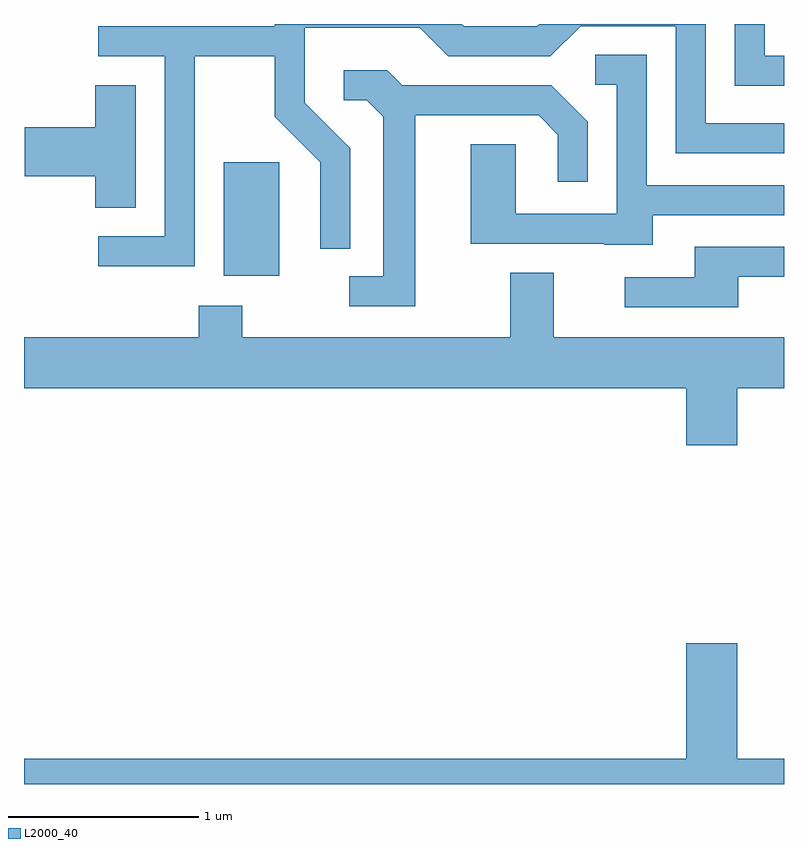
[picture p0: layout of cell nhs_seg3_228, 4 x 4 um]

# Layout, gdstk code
import gdstk
lib = gdstk.Library(unit=1e-6, precision=1e-09)
def R(c, l, rs):  # rectangles x0, y0, x1, y1
    for r in rs: c.add(gdstk.rectangle(r[:2], r[2:], *l))
def P(c, l, *ps):  # polygons
    for p in ps: c.add(gdstk.Polygon(p, *l))
L2000_40 = (2000, 40)

nhs_seg3_228 = lib.new_cell('nhs_seg3_228')
R(nhs_seg3_228, L2000_40, [(192.661,1166.566,192.954,1167.164)])
P(nhs_seg3_228, L2000_40, [(195.611,1167.724),(195.509,1167.724),(195.509,1167.892),(195.351,1167.892),(195.351,1167.566),(195.611,1167.566)],
  [(192.509,1167.721),(192.931,1167.721),(192.931,1167.404),(193.171,1167.164),(193.171,1166.708),(193.329,1166.708),(193.329,1167.237),(193.089,1167.477),(193.089,1167.871),(193.694,1167.871),(193.844,1167.721),(194.382,1167.721),(194.542,1167.881),(195.041,1167.881),(195.041,1167.211),(195.611,1167.211),(195.611,1167.369),(195.199,1167.369),(195.199,1167.892),(194.322,1167.892),(194.309,1167.879),(193.927,1167.879),(193.914,1167.892),(192.931,1167.892),(192.931,1167.879),(192.003,1167.879),(192.003,1167.721),(192.351,1167.721),(192.351,1166.774),(192.003,1166.774),(192.003,1166.616),(192.509,1166.616)],
  [(194.919,1166.886),(195.611,1166.886),(195.611,1167.044),(194.889,1167.044),(194.889,1167.729),(194.618,1167.729),(194.618,1167.571),(194.731,1167.571),(194.731,1166.894),(194.199,1166.894),(194.199,1167.259),(193.961,1167.259),(193.961,1166.736),(194.665,1166.736),(194.665,1166.731),(194.919,1166.731)],
  [(193.669,1167.411),(194.319,1167.411),(194.421,1167.309),(194.421,1167.063),(194.579,1167.063),(194.579,1167.377),(194.387,1167.569),(193.602,1167.569),(193.522,1167.649),(193.293,1167.649),(193.293,1167.491),(193.414,1167.491),(193.501,1167.404),(193.501,1166.564),(193.323,1166.564),(193.323,1166.406),(193.669,1166.406)],
  [(192.199,1167.569),(191.986,1167.569),(191.986,1167.349),(191.616,1167.349),(191.616,1167.091),(191.986,1167.091),(191.986,1166.926),(192.199,1166.926)],
  [(195.369,1166.561),(195.611,1166.561),(195.611,1166.719),(195.141,1166.719),(195.141,1166.559),(194.773,1166.559),(194.773,1166.401),(195.369,1166.401)],
  [(195.364,1165.976),(195.611,1165.976),(195.611,1166.244),(194.399,1166.244),(194.399,1166.584),(194.171,1166.584),(194.171,1166.244),(192.759,1166.244),(192.759,1166.409),(192.531,1166.409),(192.531,1166.244),(191.611,1166.244),(191.611,1165.976),(195.096,1165.976),(195.096,1165.676),(195.364,1165.676)],
  [(195.611,1164.024),(195.364,1164.024),(195.364,1164.634),(195.096,1164.634),(195.096,1164.024),(191.611,1164.024),(191.611,1163.892),(195.611,1163.892)])

lib.write_gds('nhs_seg3_228.gds')
